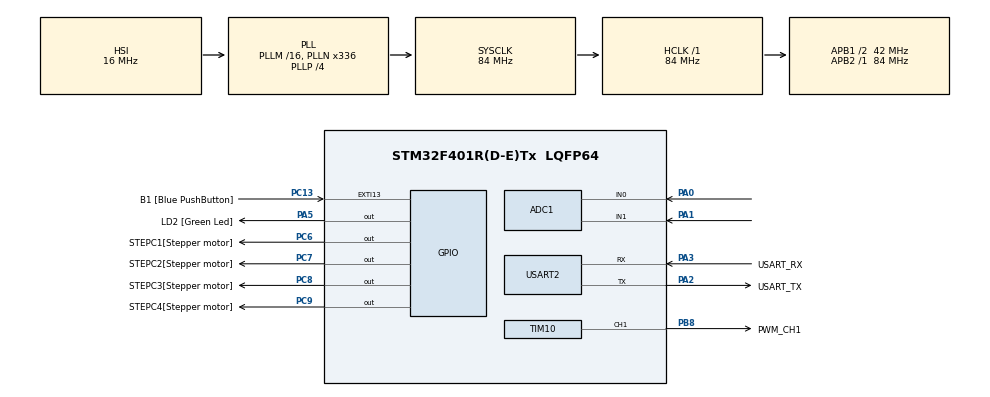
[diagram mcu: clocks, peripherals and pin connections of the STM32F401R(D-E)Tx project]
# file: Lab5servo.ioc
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ADC1.Channel-0\#ChannelRegularConversion=ADC_CHANNEL_0
ADC1.Channel-1\#ChannelRegularConversion=ADC_CHANNEL_1
ADC1.ClockPrescaler=ADC_CLOCK_SYNC_PCLK_DIV8
ADC1.NbrOfConversion=2
ADC1.NbrOfConversionFlag=1
ADC1.Rank-0\#ChannelRegularConversion=1
ADC1.Rank-1\#ChannelRegularConversion=2
ADC1.SamplingTime-0\#ChannelRegularConversion=ADC_SAMPLETIME_480CYCLES
ADC1.SamplingTime-1\#ChannelRegularConversion=ADC_SAMPLETIME_480CYCLES
ADC1.ScanConvMode=ENABLE
ADC1.master=1
Mcu.Family=STM32F4
Mcu.Name=STM32F401R(D-E)Tx
Mcu.Package=LQFP64
NVIC.PriorityGroup=NVIC_PRIORITYGROUP_0
PA0-WKUP.Signal=ADCx_IN0
PA1.Signal=ADCx_IN1
PA13.GPIO_Label=TMS
PA13.Mode=Serial_Wire
PA13.Signal=SYS_JTMS-SWDIO
PA14.GPIO_Label=TCK
PA14.Mode=Serial_Wire
PA14.Signal=SYS_JTCK-SWCLK
PA2.GPIO_Label=USART_TX
PA2.GPIO_Mode=GPIO_MODE_AF_PP
PA2.GPIO_PuPd=GPIO_NOPULL
PA2.GPIO_Speed=GPIO_SPEED_FREQ_LOW
PA2.Mode=Asynchronous
PA2.Signal=USART2_TX
PA3.GPIO_Label=USART_RX
PA3.GPIO_Mode=GPIO_MODE_AF_PP
PA3.GPIO_PuPd=GPIO_NOPULL
PA3.GPIO_Speed=GPIO_SPEED_FREQ_LOW
PA3.Mode=Asynchronous
PA3.Signal=USART2_RX
PA5.GPIO_Label=LD2 [Green Led]
PA5.GPIO_Mode=GPIO_MODE_OUTPUT_PP
PA5.GPIO_PuPd=GPIO_NOPULL
PA5.GPIO_Speed=GPIO_SPEED_FREQ_LOW
PA5.Signal=GPIO_Output
PB3.GPIO_Label=SWO
PB3.Signal=SYS_JTDO-SWO
PB8.GPIO_Label=PWM_CH1
PB8.Signal=S_TIM10_CH1
PC13-ANTI_TAMP.GPIO_Label=B1 [Blue PushButton]
PC13-ANTI_TAMP.GPIO_ModeDefaultEXTI=GPIO_MODE_IT_FALLING
PC13-ANTI_TAMP.GPIO_PuPd=GPIO_NOPULL
PC13-ANTI_TAMP.Signal=GPXTI13
PC14-OSC32_IN.Mode=LSE-External-Oscillator
PC14-OSC32_IN.Signal=RCC_OSC32_IN
PC15-OSC32_OUT.Mode=LSE-External-Oscillator
PC15-OSC32_OUT.Signal=RCC_OSC32_OUT
PC6.GPIO_Label=STEPC1[Stepper motor]
PC6.Signal=GPIO_Output
PC7.GPIO_Label=STEPC2[Stepper motor]
PC7.Signal=GPIO_Output
PC8.GPIO_Label=STEPC3[Stepper motor]
PC8.Signal=GPIO_Output
PC9.GPIO_Label=STEPC4[Stepper motor]
PC9.Signal=GPIO_Output
PH0\ -\ OSC_IN.Mode=HSE-External-Clock-Source
PH0\ -\ OSC_IN.Signal=RCC_OSC_IN
PH1\ -\ OSC_OUT.Mode=HSE-External-Clock-Source
PH1\ -\ OSC_OUT.Signal=RCC_OSC_OUT
ProjectManager.HeapSize=0x200
ProjectManager.StackSize=0x400
ProjectManager.TargetToolchain=TrueSTUDIO
RCC.48MHZClocksFreq_Value=48000000
RCC.AHBFreq_Value=84000000
RCC.APB1CLKDivider=RCC_HCLK_DIV2
RCC.APB1Freq_Value=42000000
RCC.APB1TimFreq_Value=84000000
RCC.APB2Freq_Value=84000000
RCC.APB2TimFreq_Value=84000000
RCC.CortexFreq_Value=84000000
RCC.HCLKFreq_Value=84000000
RCC.HSE_VALUE=8000000
RCC.HSI_VALUE=16000000
RCC.PLLN=336
RCC.PLLP=RCC_PLLP_DIV4
RCC.PLLQ=7
RCC.SYSCLKFreq_VALUE=84000000
RCC.SYSCLKSource=RCC_SYSCLKSOURCE_PLLCLK
RCC.VCOOutputFreq_Value=336000000
SH.ADCx_IN0.0=ADC1_IN0,IN0
SH.ADCx_IN1.0=ADC1_IN1,IN1
SH.S_TIM10_CH1.0=TIM10_CH1,PWM Generation1 CH1
TIM10.Channel=TIM_CHANNEL_1
TIM10.Period=64615
TIM10.Prescaler=25
TIM10.Pulse=4846
USART2.VirtualMode=VM_ASYNC
VP_TIM10_VS_ClockSourceINT.Mode=Enable_Timer
board=NUCLEO-F401RE

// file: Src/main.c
/**
  ******************************************************************************
  * @file           : main.c
  * @brief          : Main program body
  ******************************************************************************
  ** This notice applies to any and all portions of this file
  * that are not between comment pairs USER CODE BEGIN and
  * USER CODE END. Other portions of this file, whether
  * inserted by the user or by software development tools
  * are owned by their respective copyright owners.
  *
  * COPYRIGHT(c) 2018 STMicroelectronics
  *
  * Redistribution and use in source and binary forms, with or without modification,
  * are permitted provided that the following conditions are met:
  *   1. Redistributions of source code must retain the above copyright notice,
  *      this list of conditions and the following disclaimer.
  *   2. Redistributions in binary form must reproduce the above copyright notice,
  *      this list of conditions and the following disclaimer in the documentation
  *      and/or other materials provided with the distribution.
  *   3. Neither the name of STMicroelectronics nor the names of its contributors
  *      may be used to endorse or promote products derived from this software
  *      without specific prior written permission.
  *
  * THIS SOFTWARE IS PROVIDED BY THE COPYRIGHT HOLDERS AND CONTRIBUTORS "AS IS"
  * AND ANY EXPRESS OR IMPLIED WARRANTIES, INCLUDING, BUT NOT LIMITED TO, THE
  * IMPLIED WARRANTIES OF MERCHANTABILITY AND FITNESS FOR A PARTICULAR PURPOSE ARE
  * DISCLAIMED. IN NO EVENT SHALL THE COPYRIGHT HOLDER OR CONTRIBUTORS BE LIABLE
  * FOR ANY DIRECT, INDIRECT, INCIDENTAL, SPECIAL, EXEMPLARY, OR CONSEQUENTIAL
  * DAMAGES (INCLUDING, BUT NOT LIMITED TO, PROCUREMENT OF SUBSTITUTE GOODS OR
  * SERVICES; LOSS OF USE, DATA, OR PROFITS; OR BUSINESS INTERRUPTION) HOWEVER
  * CAUSED AND ON ANY THEORY OF LIABILITY, WHETHER IN CONTRACT, STRICT LIABILITY,
  * OR TORT (INCLUDING NEGLIGENCE OR OTHERWISE) ARISING IN ANY WAY OUT OF THE USE
  * OF THIS SOFTWARE, EVEN IF ADVISED OF THE POSSIBILITY OF SUCH DAMAGE.
  *
  ******************************************************************************
  */
#include "main.h"
#include "stm32f4xx_hal.h"

ADC_HandleTypeDef hadc1;

TIM_HandleTypeDef htim10;

UART_HandleTypeDef huart2;
#define STATE_1 1
#define STATE_2 2
#define STATE_3 3
#define STATE_4 4
#define STATE_5 5
#define STATE_6 6
#define STATE_7 7
#define STATE_8 8

/* USER CODE BEGIN PV */
/* Private variables ---------------------------------------------------------*/
 float new_pwm_val;
 int result = 0;
 float channel_1;
 int channel_2;
 float x, y;
 float trackpwm;

 int state = STATE_1;

/* USER CODE END PV */

void SystemClock_Config(void);
static void MX_GPIO_Init(void);
static void MX_USART2_UART_Init(void);
static void MX_TIM10_Init(void);
static void MX_ADC1_Init(void);

void HAL_TIM_MspPostInit(TIM_HandleTypeDef *htim);

/* USER CODE BEGIN PFP */
/* Private function prototypes -----------------------------------------------*/
int Set_Pulse_Width(float pw_time)
{
	if(0.7 > pw_time)
		pw_time = 0.7;
	if(pw_time > 2.5)
		pw_time = 2.4;
	trackpwm = pw_time;
	new_pwm_val = ((pw_time/20)*64615);
	__HAL_TIM_SET_COMPARE(&htim10, TIM_CHANNEL_1, new_pwm_val);
	return 0;
}

void ADC_Conversion(void)
{
	HAL_ADC_Start(&hadc1);
	if (HAL_ADC_PollForConversion(&hadc1,HAL_MAX_DELAY) == HAL_OK)
	{
		channel_1 = HAL_ADC_GetValue(&hadc1);
		if (HAL_ADC_PollForConversion(&hadc1,HAL_MAX_DELAY) == HAL_OK)
		{
			channel_2 = HAL_ADC_GetValue(&hadc1);
		}
	}
	HAL_ADC_Stop(&hadc1);
}

void Step_Test(int direction)
{

	if (direction < 1000)
		state --;
	else if(direction > 3000)
		state ++;

	if (state > 8)
		state = STATE_1;
	else if (state < 1)
		state = STATE_8;

	switch(state) {
	case STATE_1 :{
	HAL_GPIO_WritePin(STEPC1_GPIO_Port,STEPC1_Pin,1);
	HAL_GPIO_WritePin(STEPC2_GPIO_Port,STEPC2_Pin,0);
	HAL_GPIO_WritePin(STEPC3_GPIO_Port,STEPC3_Pin,0);
	HAL_GPIO_WritePin(STEPC4_GPIO_Port,STEPC4_Pin,0);
	break;
	}

	case STATE_2 :{
	HAL_GPIO_WritePin(STEPC1_GPIO_Port,STEPC1_Pin,1);
	HAL_GPIO_WritePin(STEPC2_GPIO_Port,STEPC2_Pin,1);
	HAL_GPIO_WritePin(STEPC3_GPIO_Port,STEPC3_Pin,0);
	HAL_GPIO_WritePin(STEPC4_GPIO_Port,STEPC4_Pin,0);
	break;
	}

	case STATE_3 : {
	HAL_GPIO_WritePin(STEPC1_GPIO_Port,STEPC1_Pin,0);
	HAL_GPIO_WritePin(STEPC2_GPIO_Port,STEPC2_Pin,1);
	HAL_GPIO_WritePin(STEPC3_GPIO_Port,STEPC3_Pin,0);
	HAL_GPIO_WritePin(STEPC4_GPIO_Port,STEPC4_Pin,0);
	break;
	}

	case STATE_4 : {
	HAL_GPIO_WritePin(STEPC1_GPIO_Port,STEPC1_Pin,0);
	HAL_GPIO_WritePin(STEPC2_GPIO_Port,STEPC2_Pin,1);
	HAL_GPIO_WritePin(STEPC3_GPIO_Port,STEPC3_Pin,1);
	HAL_GPIO_WritePin(STEPC4_GPIO_Port,STEPC4_Pin,0);
	break;
	}

	case STATE_5 : {
	HAL_GPIO_WritePin(STEPC1_GPIO_Port,STEPC1_Pin,0);
	HAL_GPIO_WritePin(STEPC2_GPIO_Port,STEPC2_Pin,0);
	HAL_GPIO_WritePin(STEPC3_GPIO_Port,STEPC3_Pin,1);
	HAL_GPIO_WritePin(STEPC4_GPIO_Port,STEPC4_Pin,0);
	break;
	}

	case STATE_6 : {
	HAL_GPIO_WritePin(STEPC1_GPIO_Port,STEPC1_Pin,0);
	HAL_GPIO_WritePin(STEPC2_GPIO_Port,STEPC2_Pin,0);
	HAL_GPIO_WritePin(STEPC3_GPIO_Port,STEPC3_Pin,1);
	HAL_GPIO_WritePin(STEPC4_GPIO_Port,STEPC4_Pin,1);
	break;
	}

	case STATE_7 : {
	HAL_GPIO_WritePin(STEPC1_GPIO_Port,STEPC1_Pin,0);
	HAL_GPIO_WritePin(STEPC2_GPIO_Port,STEPC2_Pin,0);
	HAL_GPIO_WritePin(STEPC3_GPIO_Port,STEPC3_Pin,0);
	HAL_GPIO_WritePin(STEPC4_GPIO_Port,STEPC4_Pin,1);
	break;
	}

	case STATE_8 : {
	HAL_GPIO_WritePin(STEPC1_GPIO_Port,STEPC1_Pin,1);
	HAL_GPIO_WritePin(STEPC2_GPIO_Port,STEPC2_Pin,0);
	HAL_GPIO_WritePin(STEPC3_GPIO_Port,STEPC3_Pin,0);
	HAL_GPIO_WritePin(STEPC4_GPIO_Port,STEPC4_Pin,1);
	break;
	}
	HAL_Delay(2);
	}

}
/* USER CODE END PFP */

int main(void)
{
  /* USER CODE BEGIN 1 */
 char buffer[100];
  /* USER CODE END 1 */

  /* MCU Configuration----------------------------------------------------------*/

  /* Reset of all peripherals, Initializes the Flash interface and the Systick. */
  HAL_Init();

  /* Configure the system clock */
  SystemClock_Config();

  /* Initialize all configured peripherals */
  MX_GPIO_Init();
  MX_USART2_UART_Init();
  MX_TIM10_Init();
  MX_ADC1_Init();
  /* USER CODE BEGIN 2 */
  HAL_TIM_PWM_Start(&htim10,TIM_CHANNEL_1);
  /* USER CODE END 2 */

  /* Infinite loop */
  /* USER CODE BEGIN WHILE */
  while (1)
  {

	  ADC_Conversion();
	  channel_1 = (channel_1) /(1476);

	  sprintf(buffer,"\033c");
	  HAL_UART_Transmit(&huart2,buffer,strlen(buffer),100);
	  sprintf(buffer,"Y: %.2f, X: %d\n\r",channel_1,channel_2);
	  HAL_UART_Transmit(&huart2,buffer,strlen(buffer),100);
	  sprintf(buffer,"PWM: %.2f",trackpwm);
	  HAL_UART_Transmit(&huart2,buffer,strlen(buffer),100);
	  Set_Pulse_Width(channel_1);
	  Step_Test(channel_2);
  /* USER CODE END WHILE */

  }

}

void SystemClock_Config(void)
{

  RCC_OscInitTypeDef RCC_OscInitStruct;
  RCC_ClkInitTypeDef RCC_ClkInitStruct;

    /**Configure the main internal regulator output voltage
    */
  __HAL_RCC_PWR_CLK_ENABLE();

  __HAL_PWR_VOLTAGESCALING_CONFIG(PWR_REGULATOR_VOLTAGE_SCALE2);

    /**Initializes the CPU, AHB and APB busses clocks
    */
  RCC_OscInitStruct.OscillatorType = RCC_OSCILLATORTYPE_HSI;
  RCC_OscInitStruct.HSIState = RCC_HSI_ON;
  RCC_OscInitStruct.HSICalibrationValue = 16;
  RCC_OscInitStruct.PLL.PLLState = RCC_PLL_ON;
  RCC_OscInitStruct.PLL.PLLSource = RCC_PLLSOURCE_HSI;
  RCC_OscInitStruct.PLL.PLLM = 16;
  RCC_OscInitStruct.PLL.PLLN = 336;
  RCC_OscInitStruct.PLL.PLLP = RCC_PLLP_DIV4;
  RCC_OscInitStruct.PLL.PLLQ = 7;
  if (HAL_RCC_OscConfig(&RCC_OscInitStruct) != HAL_OK)
  {
    _Error_Handler(__FILE__, __LINE__);
  }

    /**Initializes the CPU, AHB and APB busses clocks
    */
  RCC_ClkInitStruct.ClockType = RCC_CLOCKTYPE_HCLK|RCC_CLOCKTYPE_SYSCLK
                              |RCC_CLOCKTYPE_PCLK1|RCC_CLOCKTYPE_PCLK2;
  RCC_ClkInitStruct.SYSCLKSource = RCC_SYSCLKSOURCE_PLLCLK;
  RCC_ClkInitStruct.AHBCLKDivider = RCC_SYSCLK_DIV1;
  RCC_ClkInitStruct.APB1CLKDivider = RCC_HCLK_DIV2;
  RCC_ClkInitStruct.APB2CLKDivider = RCC_HCLK_DIV1;

  if (HAL_RCC_ClockConfig(&RCC_ClkInitStruct, FLASH_LATENCY_2) != HAL_OK)
  {
    _Error_Handler(__FILE__, __LINE__);
  }

    /**Configure the Systick interrupt time
    */
  HAL_SYSTICK_Config(HAL_RCC_GetHCLKFreq()/1000);

    /**Configure the Systick
    */
  HAL_SYSTICK_CLKSourceConfig(SYSTICK_CLKSOURCE_HCLK);

  /* SysTick_IRQn interrupt configuration */
  HAL_NVIC_SetPriority(SysTick_IRQn, 0, 0);
}

/* ADC1 init function */
static void MX_ADC1_Init(void)
{

  ADC_ChannelConfTypeDef sConfig;

    /**Configure the global features of the ADC (Clock, Resolution, Data Alignment and number of conversion)
    */
  hadc1.Instance = ADC1;
  hadc1.Init.ClockPrescaler = ADC_CLOCK_SYNC_PCLK_DIV8;
  hadc1.Init.Resolution = ADC_RESOLUTION_12B;
  hadc1.Init.ScanConvMode = ENABLE;
  hadc1.Init.ContinuousConvMode = DISABLE;
  hadc1.Init.DiscontinuousConvMode = DISABLE;
  hadc1.Init.ExternalTrigConvEdge = ADC_EXTERNALTRIGCONVEDGE_NONE;
  hadc1.Init.ExternalTrigConv = ADC_SOFTWARE_START;
  hadc1.Init.DataAlign = ADC_DATAALIGN_RIGHT;
  hadc1.Init.NbrOfConversion = 2;
  hadc1.Init.DMAContinuousRequests = DISABLE;
  hadc1.Init.EOCSelection = ADC_EOC_SINGLE_CONV;
  if (HAL_ADC_Init(&hadc1) != HAL_OK)
  {
    _Error_Handler(__FILE__, __LINE__);
  }

    /**Configure for the selected ADC regular channel its corresponding rank in the sequencer and its sample time.
    */
  sConfig.Channel = ADC_CHANNEL_0;
  sConfig.Rank = 1;
  sConfig.SamplingTime = ADC_SAMPLETIME_480CYCLES;
  if (HAL_ADC_ConfigChannel(&hadc1, &sConfig) != HAL_OK)
  {
    _Error_Handler(__FILE__, __LINE__);
  }

    /**Configure for the selected ADC regular channel its corresponding rank in the sequencer and its sample time.
    */
  sConfig.Channel = ADC_CHANNEL_1;
  sConfig.Rank = 2;
  if (HAL_ADC_ConfigChannel(&hadc1, &sConfig) != HAL_OK)
  {
    _Error_Handler(__FILE__, __LINE__);
  }

}

/* TIM10 init function */
static void MX_TIM10_Init(void)
{

  TIM_OC_InitTypeDef sConfigOC;

  htim10.Instance = TIM10;
  htim10.Init.Prescaler = 25;
  htim10.Init.CounterMode = TIM_COUNTERMODE_UP;
  htim10.Init.Period = 64615;
  htim10.Init.ClockDivision = TIM_CLOCKDIVISION_DIV1;
  if (HAL_TIM_Base_Init(&htim10) != HAL_OK)
  {
    _Error_Handler(__FILE__, __LINE__);
  }

  if (HAL_TIM_PWM_Init(&htim10) != HAL_OK)
  {
    _Error_Handler(__FILE__, __LINE__);
  }

  sConfigOC.OCMode = TIM_OCMODE_PWM1;
  sConfigOC.Pulse = 4846;
  sConfigOC.OCPolarity = TIM_OCPOLARITY_HIGH;
  sConfigOC.OCFastMode = TIM_OCFAST_DISABLE;
  if (HAL_TIM_PWM_ConfigChannel(&htim10, &sConfigOC, TIM_CHANNEL_1) != HAL_OK)
  {
    _Error_Handler(__FILE__, __LINE__);
  }

  HAL_TIM_MspPostInit(&htim10);

}

/* USART2 init function */
static void MX_USART2_UART_Init(void)
{

  huart2.Instance = USART2;
  huart2.Init.BaudRate = 115200;
  huart2.Init.WordLength = UART_WORDLENGTH_8B;
  huart2.Init.StopBits = UART_STOPBITS_1;
  huart2.Init.Parity = UART_PARITY_NONE;
  huart2.Init.Mode = UART_MODE_TX_RX;
  huart2.Init.HwFlowCtl = UART_HWCONTROL_NONE;
  huart2.Init.OverSampling = UART_OVERSAMPLING_16;
  if (HAL_UART_Init(&huart2) != HAL_OK)
  {
    _Error_Handler(__FILE__, __LINE__);
  }

}

/** Configure pins as
        * Analog
        * Input
        * Output
        * EVENT_OUT
        * EXTI
        * Free pins are configured automatically as Analog (this feature is enabled through
        * the Code Generation settings)
*/
static void MX_GPIO_Init(void)
{

  GPIO_InitTypeDef GPIO_InitStruct;

  /* GPIO Ports Clock Enable */
  __HAL_RCC_GPIOC_CLK_ENABLE();
  __HAL_RCC_GPIOH_CLK_ENABLE();
  __HAL_RCC_GPIOA_CLK_ENABLE();
  __HAL_RCC_GPIOB_CLK_ENABLE();
  __HAL_RCC_GPIOD_CLK_ENABLE();

  /*Configure GPIO pin Output Level */
  HAL_GPIO_WritePin(LD2_GPIO_Port, LD2_Pin, GPIO_PIN_RESET);

  /*Configure GPIO pin Output Level */
  HAL_GPIO_WritePin(GPIOC, STEPC1_Pin|STEPC2_Pin|STEPC3_Pin|STEPC4_Pin, GPIO_PIN_RESET);

  /*Configure GPIO pin : B1_Pin */
  GPIO_InitStruct.Pin = B1_Pin;
  GPIO_InitStruct.Mode = GPIO_MODE_IT_FALLING;
  GPIO_InitStruct.Pull = GPIO_NOPULL;
  HAL_GPIO_Init(B1_GPIO_Port, &GPIO_InitStruct);

  /*Configure GPIO pins : PC0 PC1 PC2 PC3
                           PC4 PC5 PC10 PC11
                           PC12 */
  GPIO_InitStruct.Pin = GPIO_PIN_0|GPIO_PIN_1|GPIO_PIN_2|GPIO_PIN_3
                          |GPIO_PIN_4|GPIO_PIN_5|GPIO_PIN_10|GPIO_PIN_11
                          |GPIO_PIN_12;
  GPIO_InitStruct.Mode = GPIO_MODE_ANALOG;
  GPIO_InitStruct.Pull = GPIO_NOPULL;
  HAL_GPIO_Init(GPIOC, &GPIO_InitStruct);

  /*Configure GPIO pins : PA4 PA6 PA7 PA8
                           PA9 PA10 PA11 PA12
                           PA15 */
  GPIO_InitStruct.Pin = GPIO_PIN_4|GPIO_PIN_6|GPIO_PIN_7|GPIO_PIN_8
                          |GPIO_PIN_9|GPIO_PIN_10|GPIO_PIN_11|GPIO_PIN_12
                          |GPIO_PIN_15;
  GPIO_InitStruct.Mode = GPIO_MODE_ANALOG;
  GPIO_InitStruct.Pull = GPIO_NOPULL;
  HAL_GPIO_Init(GPIOA, &GPIO_InitStruct);

  /*Configure GPIO pin : LD2_Pin */
  GPIO_InitStruct.Pin = LD2_Pin;
  GPIO_InitStruct.Mode = GPIO_MODE_OUTPUT_PP;
  GPIO_InitStruct.Pull = GPIO_NOPULL;
  GPIO_InitStruct.Speed = GPIO_SPEED_FREQ_LOW;
  HAL_GPIO_Init(LD2_GPIO_Port, &GPIO_InitStruct);

  /*Configure GPIO pins : PB0 PB1 PB2 PB10
                           PB12 PB13 PB14 PB15
                           PB4 PB5 PB6 PB7
                           PB9 */
  GPIO_InitStruct.Pin = GPIO_PIN_0|GPIO_PIN_1|GPIO_PIN_2|GPIO_PIN_10
                          |GPIO_PIN_12|GPIO_PIN_13|GPIO_PIN_14|GPIO_PIN_15
                          |GPIO_PIN_4|GPIO_PIN_5|GPIO_PIN_6|GPIO_PIN_7
                          |GPIO_PIN_9;
  GPIO_InitStruct.Mode = GPIO_MODE_ANALOG;
  GPIO_InitStruct.Pull = GPIO_NOPULL;
  HAL_GPIO_Init(GPIOB, &GPIO_InitStruct);

  /*Configure GPIO pins : STEPC1_Pin STEPC2_Pin STEPC3_Pin STEPC4_Pin */
  GPIO_InitStruct.Pin = STEPC1_Pin|STEPC2_Pin|STEPC3_Pin|STEPC4_Pin;
  GPIO_InitStruct.Mode = GPIO_MODE_OUTPUT_PP;
  GPIO_InitStruct.Pull = GPIO_NOPULL;
  GPIO_InitStruct.Speed = GPIO_SPEED_FREQ_LOW;
  HAL_GPIO_Init(GPIOC, &GPIO_InitStruct);

  /*Configure GPIO pin : PD2 */
  GPIO_InitStruct.Pin = GPIO_PIN_2;
  GPIO_InitStruct.Mode = GPIO_MODE_ANALOG;
  GPIO_InitStruct.Pull = GPIO_NOPULL;
  HAL_GPIO_Init(GPIOD, &GPIO_InitStruct);

}

void _Error_Handler(char *file, int line)
{
  while(1)
  {
  }
}

/************************ (C) COPYRIGHT STMicroelectronics *****END OF FILE****/
